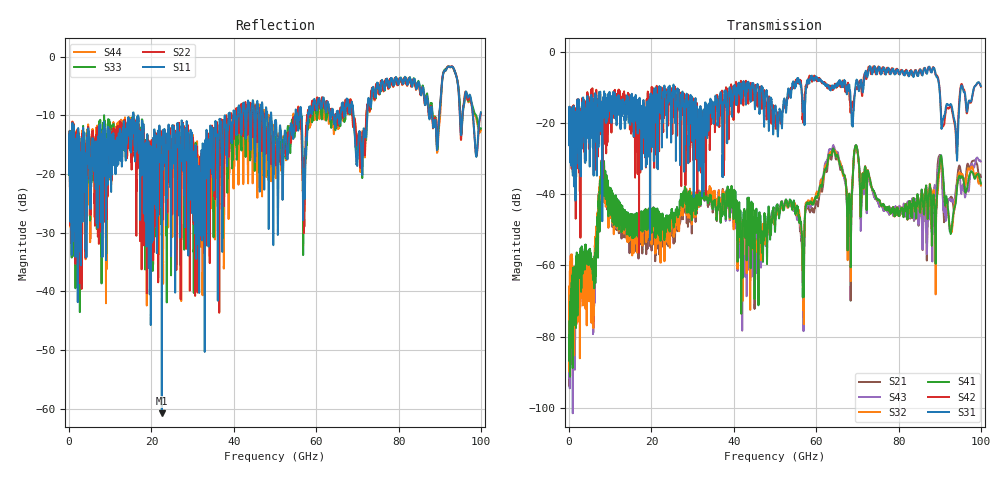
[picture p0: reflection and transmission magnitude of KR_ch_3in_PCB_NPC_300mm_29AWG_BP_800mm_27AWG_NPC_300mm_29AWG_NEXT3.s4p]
# GHz S RI R 45
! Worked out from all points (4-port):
!   4000 points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, 25 MHz to 100 GHz, reference 45 ohm
!   strongest paths, dB at 25 MHz, 25.02 GHz, 50.02 GHz, 75.03 GHz, 100 GHz:
!     S31: -20.7, -14.9, -15.8, -5.1, -9.6
!     S42: -20.6, -18.0, -18.0, -4.3, -9.8
!     S41: -86.8, -45.6, -50.6, -41.7, -37.0
!     S32: -88.7, -46.4, -47.4, -41.7, -37.5
!     S43: -89.3, -46.9, -46.1, -42.2, -30.8
!     S21: -93.8, -49.8, -47.2, -42.1, -35.1
!   lowest |S11| = -60.8 dB at 22.52 GHz (marker M1), VSWR 1.00, Z = 44.9 - j0.00886 ohm
!   |S11| at or under -10 dB: start of sweep to 15.52 GHz; 15.63 GHz to 38.73 GHz (23.1 GHz wide, 85 % of centre); 49.11 GHz to 54.96 GHz (5.845 GHz wide, 11.2 % of centre) (the widest 3 of 27)
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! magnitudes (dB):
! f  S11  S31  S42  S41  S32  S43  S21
! 25 MHz  -16.1  -20.7  -20.6  -86.8  -88.7  -89.3  -93.8
! 5.9 GHz  -14.2  -20.4  -19.1  -64.0  -72.5  -78.9  -74.7
! 8.025 GHz  -19.6  -25.9  -26.6  -31.6  -31.9  -31.0  -32.4
! 22.52 GHz  -60.8  -23.3  -11.1  -48.4  -52.8  -48.9  -52.5
! 56.67 GHz  -16.7  -14.8  -19.0  -59.0  -59.0  -60.0  -58.1
! 63.85 GHz  -9.2  -9.6  -10.1  -28.4  -28.4  -27.4  -29.3
! 100 GHz  -9.5  -9.6  -9.8  -37.0  -37.5  -30.8  -35.1
